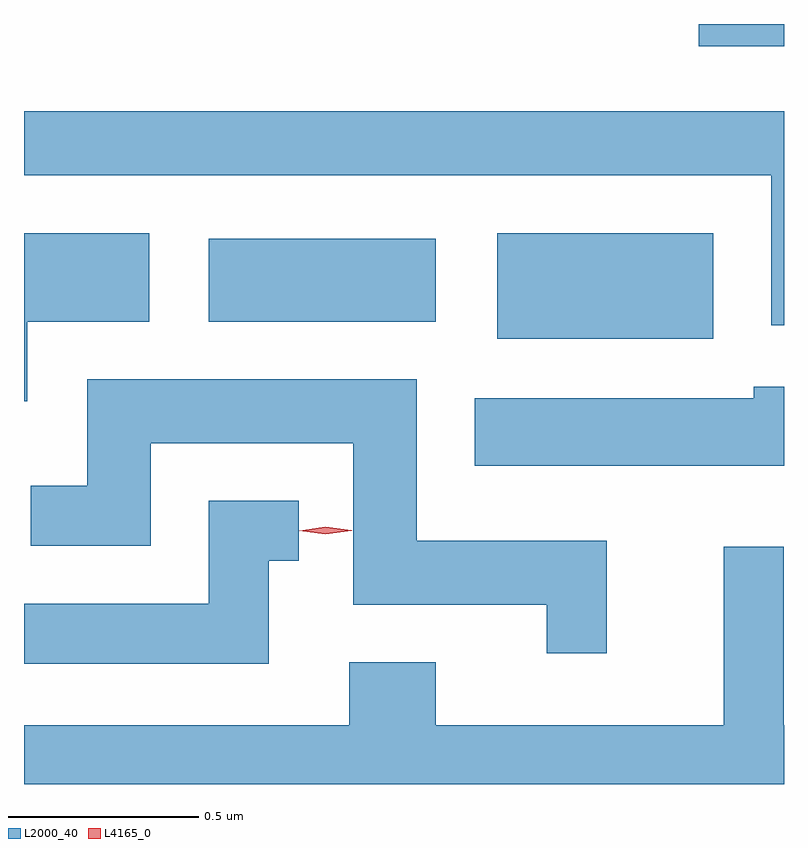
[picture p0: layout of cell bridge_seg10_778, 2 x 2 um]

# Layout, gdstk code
import gdstk
lib = gdstk.Library(unit=1e-6, precision=1e-09)
def R(c, l, rs):  # rectangles x0, y0, x1, y1
    for r in rs: c.add(gdstk.rectangle(r[:2], r[2:], *l))
def P(c, l, *ps):  # polygons
    for p in ps: c.add(gdstk.Polygon(p, *l))
L2000_40 = (2000, 40)
L4165_0 = (4165, 0)

bridge_seg10_778 = lib.new_cell('bridge_seg10_778')
R(bridge_seg10_778, L2000_40, [(589.031,2177.361,589.599,2177.639), (588.271,2177.406,588.869,2177.624), (589.561,2178.131,589.785,2178.189)])
P(bridge_seg10_778, L2000_40, [(589.785,2177.959),(587.785,2177.959),(587.785,2177.791),(589.751,2177.791),(589.751,2177.396),(589.785,2177.396)],
  [(587.794,2177.406),(588.114,2177.406),(588.114,2177.639),(587.785,2177.639),(587.785,2177.196),(587.794,2177.196)],
  [(589.319,2176.829),(588.819,2176.829),(588.819,2177.254),(587.951,2177.254),(587.951,2176.974),(587.803,2176.974),(587.803,2176.816),(588.119,2176.816),(588.119,2177.086),(588.651,2177.086),(588.651,2176.661),(589.161,2176.661),(589.161,2176.533),(589.319,2176.533)],
  [(589.785,2177.234),(589.706,2177.234),(589.706,2177.204),(588.971,2177.204),(588.971,2177.026),(589.785,2177.026)],
  [(588.429,2176.776),(588.508,2176.776),(588.508,2176.934),(588.271,2176.934),(588.271,2176.664),(587.785,2176.664),(587.785,2176.506),(588.429,2176.506)],
  [(589.785,2176.344),(589.784,2176.344),(589.784,2176.813),(589.626,2176.813),(589.626,2176.344),(588.869,2176.344),(588.869,2176.509),(588.641,2176.509),(588.641,2176.344),(587.785,2176.344),(587.785,2176.189),(589.785,2176.189)])
P(bridge_seg10_778, L4165_0, [(588.578,2176.846),(588.509,2176.856),(588.509,2176.856),(588.509,2176.856),(588.578,2176.866),(588.648,2176.857),(588.648,2176.857),(588.648,2176.856)])

lib.write_gds('bridge_seg10_778.gds')
